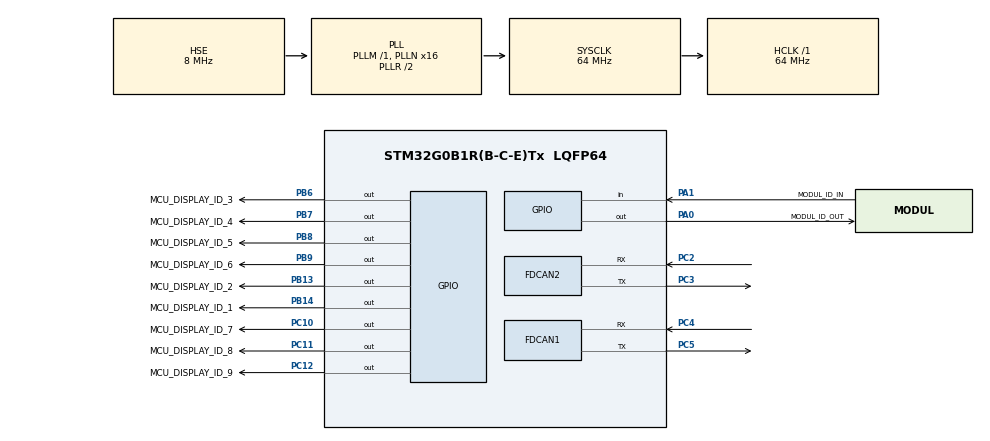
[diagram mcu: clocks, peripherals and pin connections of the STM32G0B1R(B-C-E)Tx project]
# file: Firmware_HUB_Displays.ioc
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FDCAN1.AutoRetransmission=ENABLE
FDCAN1.CalculateBaudRateNominal=50000
FDCAN1.CalculateTimeBitNominal=20000
FDCAN1.CalculateTimeQuantumNominal=2500.0
FDCAN1.NominalPrescaler=160
FDCAN1.NominalTimeSeg1=5
FDCAN1.NominalTimeSeg2=2
FDCAN2.AutoRetransmission=ENABLE
FDCAN2.CalculateBaudRateNominal=50000
FDCAN2.CalculateTimeBitNominal=20000
FDCAN2.CalculateTimeQuantumNominal=2500.0
FDCAN2.NominalPrescaler=160
FDCAN2.NominalTimeSeg1=5
FDCAN2.NominalTimeSeg2=2
Mcu.Family=STM32G0
Mcu.Name=STM32G0B1R(B-C-E)Tx
Mcu.Package=LQFP64
NVIC.TIM16_FDCAN_IT0_IRQn=true\:0\:0\:false\:false\:true\:true\:true\:true
NVIC.TIM17_FDCAN_IT1_IRQn=true\:0\:0\:false\:false\:true\:true\:true\:true
PA0.GPIO_Label=MODUL_ID_OUT
PA0.Signal=GPIO_Output
PA1.GPIO_Label=MODUL_ID_IN
PA1.GPIO_PuPd=GPIO_PULLDOWN
PA1.Signal=GPIO_Input
PA13.Mode=Serial_Wire
PA13.Signal=SYS_SWDIO
PA14-BOOT0.Mode=Serial_Wire
PA14-BOOT0.Signal=SYS_SWCLK
PB13.GPIO_Label=MCU_DISPLAY_ID_2
PB13.Signal=GPIO_Output
PB14.GPIO_Label=MCU_DISPLAY_ID_1
PB14.Signal=GPIO_Output
PB6.GPIO_Label=MCU_DISPLAY_ID_3
PB6.Signal=GPIO_Output
PB7.GPIO_Label=MCU_DISPLAY_ID_4
PB7.Signal=GPIO_Output
PB8.GPIO_Label=MCU_DISPLAY_ID_5
PB8.Signal=GPIO_Output
PB9.GPIO_Label=MCU_DISPLAY_ID_6
PB9.Signal=GPIO_Output
PC10.GPIO_Label=MCU_DISPLAY_ID_7
PC10.Signal=GPIO_Output
PC11.GPIO_Label=MCU_DISPLAY_ID_8
PC11.Signal=GPIO_Output
PC12.GPIO_Label=MCU_DISPLAY_ID_9
PC12.Signal=GPIO_Output
PC2.GPIO_Speed=GPIO_SPEED_FREQ_VERY_HIGH
PC2.Mode=FDCAN_Activate
PC2.Signal=FDCAN2_RX
PC3.GPIO_Speed=GPIO_SPEED_FREQ_VERY_HIGH
PC3.Mode=FDCAN_Activate
PC3.Signal=FDCAN2_TX
PC4.GPIO_Speed=GPIO_SPEED_FREQ_VERY_HIGH
PC4.Mode=FDCAN_Activate
PC4.PinState=GPIO_PIN_RESET
PC4.Signal=FDCAN1_RX
PC5.GPIO_Speed=GPIO_SPEED_FREQ_VERY_HIGH
PC5.Mode=FDCAN_Activate
PC5.Signal=FDCAN1_TX
PF0-OSC_IN\ (PF0).Mode=HSE-External-Oscillator
PF0-OSC_IN\ (PF0).Signal=RCC_OSC_IN
PF1-OSC_OUT\ (PF1).Mode=HSE-External-Oscillator
PF1-OSC_OUT\ (PF1).Signal=RCC_OSC_OUT
ProjectManager.HeapSize=0x200
ProjectManager.StackSize=0x400
ProjectManager.TargetToolchain=STM32CubeIDE
RCC.ADCFreq_Value=64000000
RCC.AHBFreq_Value=64000000
RCC.CortexFreq_Value=64000000
RCC.EXTERNAL_CLOCK_VALUE=48000
RCC.HCLKFreq_Value=64000000
RCC.HSE_VALUE=8000000
RCC.HSI48_VALUE=48000000
RCC.HSI_VALUE=16000000
RCC.LSE_VALUE=32768
RCC.PLLN=16
RCC.PLLSourceVirtual=RCC_PLLSOURCE_HSE
RCC.SYSCLKFreq_VALUE=64000000
RCC.SYSCLKSource=RCC_SYSCLKSOURCE_PLLCLK
RCC.USBFreq_Value=48000000
RCC.VCOOutputFreq_Value=128000000
VP_SYS_VS_DBSignals.Mode=DisableDeadBatterySignals
board=custom

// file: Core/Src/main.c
/* USER CODE BEGIN Header */
/**
  ******************************************************************************
  * @file           : main.c
  * @brief          : Main program body
  ******************************************************************************
  * @attention
  *
  * Copyright (c) 2026 STMicroelectronics.
  * All rights reserved.
  *
  * This software is licensed under terms that can be found in the LICENSE file
  * in the root directory of this software component.
  * If no LICENSE file comes with this software, it is provided AS-IS.
  *
  ******************************************************************************
  */
/* USER CODE END Header */
#include "main.h"
#include "fdcan.h"
#include "gpio.h"

/* USER CODE BEGIN PV */
extern FDCAN_HandleTypeDef hfdcan1;
extern FDCAN_HandleTypeDef hfdcan2;
volatile uint32_t last_can2_rx_tick = 0;
/* USER CODE END PV */

void SystemClock_Config(void);

/* USER CODE BEGIN 0 */
/* Queues a frame from thread context; the RX interrupt also writes to the TX FIFO. */
static void CAN_SendFromMain(FDCAN_HandleTypeDef *hfdcan, FDCAN_TxHeaderTypeDef *hdr, uint8_t *data)
{
  uint32_t primask = __get_PRIMASK();
  __disable_irq();
  HAL_FDCAN_AddMessageToTxFifoQ(hfdcan, hdr, data);
  __set_PRIMASK(primask);
}
/* USER CODE END 0 */

int main(void)
{

  /* MCU Configuration--------------------------------------------------------*/

  /* Reset of all peripherals, Initializes the Flash interface and the Systick. */
  HAL_Init();

  /* Configure the system clock */
  SystemClock_Config();

  /* Initialize all configured peripherals */
  MX_GPIO_Init();
  MX_FDCAN1_Init();
  MX_FDCAN2_Init();
  /* USER CODE BEGIN 2 */
  FDCAN_FilterTypeDef sFilterConfig;
  sFilterConfig.IdType = FDCAN_STANDARD_ID;
  sFilterConfig.FilterIndex = 0;
  sFilterConfig.FilterType = FDCAN_FILTER_MASK;
  sFilterConfig.FilterConfig = FDCAN_FILTER_TO_RXFIFO0;
  sFilterConfig.FilterID1 = 0x000;
  sFilterConfig.FilterID2 = 0x000;

  HAL_FDCAN_ConfigFilter(&hfdcan1, &sFilterConfig);
  HAL_FDCAN_ConfigGlobalFilter(&hfdcan1, FDCAN_ACCEPT_IN_RX_FIFO0, FDCAN_ACCEPT_IN_RX_FIFO0, FDCAN_REJECT_REMOTE, FDCAN_REJECT_REMOTE);
  HAL_FDCAN_ActivateNotification(&hfdcan1, FDCAN_IT_RX_FIFO0_NEW_MESSAGE, 0);
  HAL_FDCAN_Start(&hfdcan1);

  HAL_FDCAN_ConfigFilter(&hfdcan2, &sFilterConfig);
  HAL_FDCAN_ConfigGlobalFilter(&hfdcan2, FDCAN_ACCEPT_IN_RX_FIFO0, FDCAN_ACCEPT_IN_RX_FIFO0, FDCAN_REJECT_REMOTE, FDCAN_REJECT_REMOTE);
  HAL_FDCAN_ActivateNotification(&hfdcan2, FDCAN_IT_RX_FIFO0_NEW_MESSAGE, 0);
  HAL_FDCAN_Start(&hfdcan2);
  /* USER CODE END 2 */

  /* Infinite loop */
  while (1)
  {

    /* USER CODE BEGIN 3 */
    if (hfdcan1.Instance->PSR & FDCAN_PSR_BO) {
        HAL_FDCAN_Stop(&hfdcan1);
        HAL_FDCAN_Start(&hfdcan1);
    }
    if (hfdcan2.Instance->PSR & FDCAN_PSR_BO) {
        HAL_FDCAN_Stop(&hfdcan2);
        HAL_FDCAN_Start(&hfdcan2);
    }

    static uint32_t last_id_poll = 0;
    uint32_t current_tick = HAL_GetTick();

    // Опрос слотов и назначение ID раз в секунду
    if (current_tick - last_id_poll >= 1000) {
        last_id_poll = current_tick;

        uint16_t id_pins[9] = {
            MCU_DISPLAY_ID_1_Pin, MCU_DISPLAY_ID_2_Pin, MCU_DISPLAY_ID_3_Pin,
            MCU_DISPLAY_ID_4_Pin, MCU_DISPLAY_ID_5_Pin, MCU_DISPLAY_ID_6_Pin,
            MCU_DISPLAY_ID_7_Pin, MCU_DISPLAY_ID_8_Pin, MCU_DISPLAY_ID_9_Pin
        };
        GPIO_TypeDef* id_ports[9] = {
            MCU_DISPLAY_ID_1_GPIO_Port, MCU_DISPLAY_ID_2_GPIO_Port, MCU_DISPLAY_ID_3_GPIO_Port,
            MCU_DISPLAY_ID_4_GPIO_Port, MCU_DISPLAY_ID_5_GPIO_Port, MCU_DISPLAY_ID_6_GPIO_Port,
            MCU_DISPLAY_ID_7_GPIO_Port, MCU_DISPLAY_ID_8_GPIO_Port, MCU_DISPLAY_ID_9_GPIO_Port
        };

        for (int i = 0; i < 9; i++) {
            HAL_GPIO_WritePin(id_ports[i], id_pins[i], GPIO_PIN_SET);
            HAL_Delay(5); // Ждем пока сигнал дойдет до дисплея

            FDCAN_TxHeaderTypeDef idHeader;
            idHeader.Identifier = 0x400;
            idHeader.IdType = FDCAN_STANDARD_ID;
            idHeader.TxFrameType = FDCAN_DATA_FRAME;
            idHeader.DataLength = FDCAN_DLC_BYTES_4;
            idHeader.ErrorStateIndicator = FDCAN_ESI_ACTIVE;
            idHeader.BitRateSwitch = FDCAN_BRS_OFF;
            idHeader.FDFormat = FDCAN_CLASSIC_CAN;
            idHeader.TxEventFifoControl = FDCAN_NO_TX_EVENTS;
            idHeader.MessageMarker = 0;

            uint32_t new_id = (i + 1) * 11111;
            uint8_t payload[4];
            payload[0] = (uint8_t)(new_id & 0xFF);
            payload[1] = (uint8_t)((new_id >> 8) & 0xFF);
            payload[2] = (uint8_t)((new_id >> 16) & 0xFF);
            payload[3] = (uint8_t)((new_id >> 24) & 0xFF);

            CAN_SendFromMain(&hfdcan1, &idHeader, payload);
            HAL_Delay(5);

            HAL_GPIO_WritePin(id_ports[i], id_pins[i], GPIO_PIN_RESET);
            HAL_Delay(5);
        }
    }
  }
  /* USER CODE END 3 */
}

void SystemClock_Config(void)
{
  RCC_OscInitTypeDef RCC_OscInitStruct = {0};
  RCC_ClkInitTypeDef RCC_ClkInitStruct = {0};

  /** Configure the main internal regulator output voltage
  */
  HAL_PWREx_ControlVoltageScaling(PWR_REGULATOR_VOLTAGE_SCALE1);

  /** Initializes the RCC Oscillators according to the specified parameters
  * in the RCC_OscInitTypeDef structure.
  */
  RCC_OscInitStruct.OscillatorType = RCC_OSCILLATORTYPE_HSE;
  RCC_OscInitStruct.HSEState = RCC_HSE_ON;
  RCC_OscInitStruct.PLL.PLLState = RCC_PLL_ON;
  RCC_OscInitStruct.PLL.PLLSource = RCC_PLLSOURCE_HSE;
  RCC_OscInitStruct.PLL.PLLM = RCC_PLLM_DIV1;
  RCC_OscInitStruct.PLL.PLLN = 16;
  RCC_OscInitStruct.PLL.PLLP = RCC_PLLP_DIV2;
  RCC_OscInitStruct.PLL.PLLQ = RCC_PLLQ_DIV2;
  RCC_OscInitStruct.PLL.PLLR = RCC_PLLR_DIV2;
  if (HAL_RCC_OscConfig(&RCC_OscInitStruct) != HAL_OK)
  {
    Error_Handler();
  }

  /** Initializes the CPU, AHB and APB buses clocks
  */
  RCC_ClkInitStruct.ClockType = RCC_CLOCKTYPE_HCLK|RCC_CLOCKTYPE_SYSCLK
                              |RCC_CLOCKTYPE_PCLK1;
  RCC_ClkInitStruct.SYSCLKSource = RCC_SYSCLKSOURCE_PLLCLK;
  RCC_ClkInitStruct.AHBCLKDivider = RCC_SYSCLK_DIV1;
  RCC_ClkInitStruct.APB1CLKDivider = RCC_HCLK_DIV1;

  if (HAL_RCC_ClockConfig(&RCC_ClkInitStruct, FLASH_LATENCY_2) != HAL_OK)
  {
    Error_Handler();
  }
}

/* USER CODE BEGIN 4 */
void HAL_FDCAN_RxFifo0Callback(FDCAN_HandleTypeDef *hfdcan, uint32_t RxFifo0ITs)
{
  if ((RxFifo0ITs & FDCAN_IT_RX_FIFO0_NEW_MESSAGE) != RESET)
  {
    FDCAN_RxHeaderTypeDef RxHeader;
    uint8_t RxData[64];
    if (HAL_FDCAN_GetRxMessage(hfdcan, FDCAN_RX_FIFO0, &RxHeader, RxData) == HAL_OK)
    {
      if (hfdcan == &hfdcan2)
      {
        last_can2_rx_tick = HAL_GetTick();
        FDCAN_TxHeaderTypeDef fwdHeader;
        fwdHeader.Identifier = RxHeader.Identifier;
        fwdHeader.IdType = RxHeader.IdType;
        fwdHeader.TxFrameType = RxHeader.RxFrameType;
        fwdHeader.DataLength = RxHeader.DataLength;
        fwdHeader.ErrorStateIndicator = RxHeader.ErrorStateIndicator;
        fwdHeader.BitRateSwitch = RxHeader.BitRateSwitch;
        fwdHeader.FDFormat = RxHeader.FDFormat;
        fwdHeader.TxEventFifoControl = FDCAN_NO_TX_EVENTS;
        fwdHeader.MessageMarker = 0;

        HAL_FDCAN_AddMessageToTxFifoQ(&hfdcan1, &fwdHeader, RxData);
      }
      else if (hfdcan == &hfdcan1)
      {
        FDCAN_TxHeaderTypeDef fwdHeader;
        fwdHeader.Identifier = RxHeader.Identifier;
        fwdHeader.IdType = RxHeader.IdType;
        fwdHeader.TxFrameType = RxHeader.RxFrameType;
        fwdHeader.DataLength = RxHeader.DataLength;
        fwdHeader.ErrorStateIndicator = RxHeader.ErrorStateIndicator;
        fwdHeader.BitRateSwitch = RxHeader.BitRateSwitch;
        fwdHeader.FDFormat = RxHeader.FDFormat;
        fwdHeader.TxEventFifoControl = FDCAN_NO_TX_EVENTS;
        fwdHeader.MessageMarker = 0;

        HAL_FDCAN_AddMessageToTxFifoQ(&hfdcan2, &fwdHeader, RxData);
      }
    }
  }
}
/* USER CODE END 4 */

void Error_Handler(void)
{
  __disable_irq();
  while (1)
  {
  }
}
